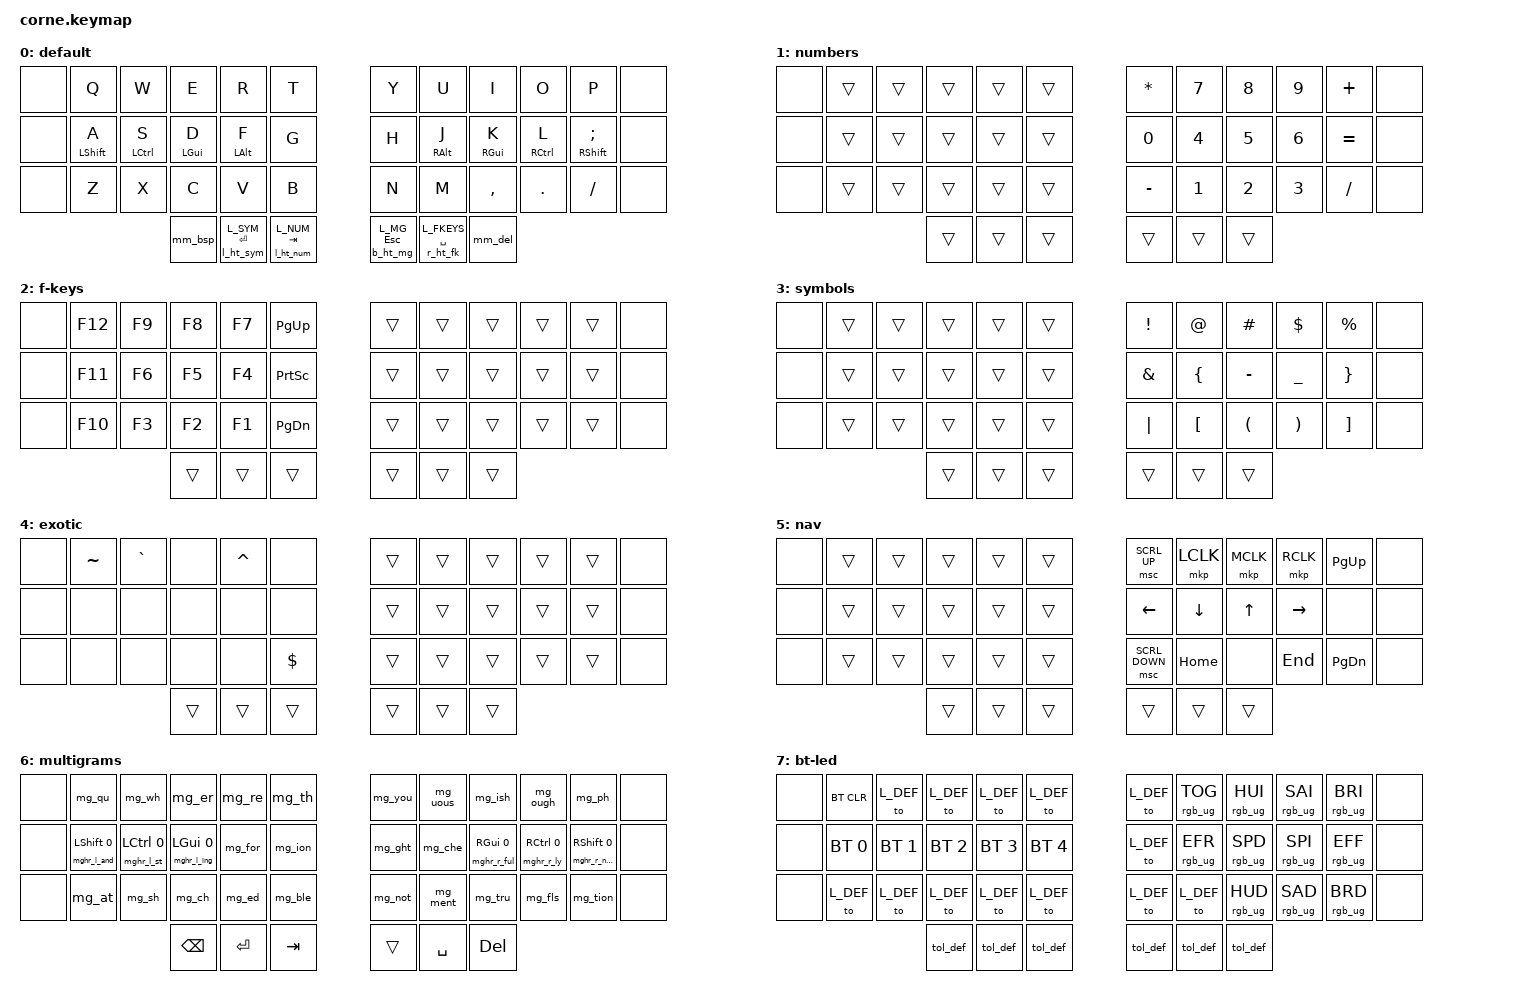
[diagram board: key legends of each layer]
/*
╭──────────────────────────────────────────────────────────╮
│ @Co-Author: TheDirkKnight   @Contact:  github.com/DiSc21 │
│ @License:   MIT           @copyright: 2024 TheDirkKnight │
│ @Data:      2025/02/16                                   │
╰──────────────────────────────────────────────────────────╯
╭──────────────────────────────────────────────────────────╮
│ @brief: ZMK keymap for Corne 5×3+3 — 8 layers           │
│                                                          │
│ @depends:                                                │
│ - shared_defs.dtsi (positions, timing, layers)           │
│ - behaviors_hrm.dtsi (home-row-modifiers)                │
│ - behaviors_led.dtsi (LED layer hold-taps)               │
│ - behaviors_multigrams.dtsi (multigram macros + MG-HRMs) │
│ - combos.dtsi (15 horizontal-adjacent combos)            │
╰──────────────────────────────────────────────────────────╯
*/

/* std includes */
#include <behaviors.dtsi>
#include <dt-bindings/zmk/keys.h>
#include <dt-bindings/zmk/bt.h>
#include <dt-bindings/zmk/rgb.h>
#include <dt-bindings/zmk/pointing.h>

/* project includes */
#include "shared_defs.dtsi"
#include "behaviors_hrm.dtsi"
#include "behaviors_led.dtsi"
#include "behaviors_multigrams.dtsi"
#include "combos.dtsi"

&led_strip {
    chain-length = <24>;
};

/ {

    behaviors {
        /* BSP/DEL mod-morph: Shift+BSP→DEL, Shift+DEL→BSP */
        mm_bsp: mm_bsp {
            compatible = "zmk,behavior-mod-morph";
            #binding-cells = <0>;
            bindings = <&l_ht_nav L_NAV BSPC>, <&kp DEL>;
            mods = <(MOD_LSFT|MOD_RSFT)>;
        };
        mm_del: mm_del {
            compatible = "zmk,behavior-mod-morph";
            #binding-cells = <0>;
            bindings = <&r_ht_exo L_EXOTIC DEL>, <&kp BSPC>;
            mods = <(MOD_LSFT|MOD_RSFT)>;
        };
    };

    keymap {
        compatible = "zmk,keymap";

        /* ═══════════════════════════════════════════════════════
         * Layer 0: Default
         * ╭─────┬─────┬─────┬─────┬─────╮ ╭─────┬─────┬─────┬─────┬─────╮
         * │  Q  │  W  │  E  │  R  │  T  │ │  Y  │  U  │  I  │  O  │  P  │
         * ├─────┼─────┼─────┼─────┼─────┤ ├─────┼─────┼─────┼─────┼─────┤
         * │  A  │  S  │  D  │  F  │  G  │ │  H  │  J  │  K  │  L  │  ;  │
         * │ SFT │ CTL │ GUI │ ALT │     │ │     │ ALT │ GUI │ CTL │ SFT │
         * ├─────┼─────┼─────┼─────┼─────┤ ├─────┼─────┼─────┼─────┼─────┤
         * │  Z  │  X  │  C  │  V  │  B  │ │  N  │  M  │  ,  │  .  │  /  │
         * ╰─────┴─────┼─────┼─────┼─────┤ ├─────┼─────┼─────┼─────┴─────╯
         *             │ BSP │ RET │ TAB │ │ ESC │ SPC │ DEL │
         *             │Nav5 │Sym3 │Num1 │ │ MG6 │ FK2 │Exo4 │
         *             ╰─────┴─────┴─────╯ ╰─────┴─────┴─────╯
         * ═══════════════════════════════════════════════════════ */
        default_layer {
            display-name = "default";
            bindings = <
                &none  &kp Q              &kp W             &kp E            &kp R             &kp T                &kp Y              &kp U             &kp I            &kp O             &kp P                &none
                &none  &ht_l_tr LSHIFT A  &ht_l_tr LCTRL S  &ht_l_tr LGUI D  &ht_l_tr LALT F   &kp G                &kp H              &ht_r_tr RALT J   &ht_r_tr RGUI K  &ht_r_tr RCTRL L  &ht_r_tr RSHIFT SEMI &none
                &none  &kp Z              &kp X             &kp C            &kp V             &kp B                &kp N              &kp M             &kp COMMA        &kp DOT           &kp FSLH             &none
                                                             &mm_bsp          &l_ht_sym L_SYM RET  &l_ht_num L_NUM TAB  &b_ht_mg L_MG ESC  &r_ht_fk L_FKEYS SPACE  &mm_del
            >;
        };

        /* ═══════════════════════════════════════════════════════
         * Layer 1: Numbers (TAB hold → right side)
         * ╭─────┬─────┬─────┬─────┬─────╮ ╭─────┬─────┬─────┬─────┬─────╮
         * │     │     │     │     │     │ │  *  │  7  │  8  │  9  │  +  │
         * ├─────┼─────┼─────┼─────┼─────┤ ├─────┼─────┼─────┼─────┼─────┤
         * │     │     │     │     │     │ │  0  │  4  │  5  │  6  │  =  │
         * │ SFT │ CTL │ GUI │ ALT │     │ │     │     │     │     │     │
         * ├─────┼─────┼─────┼─────┼─────┤ ├─────┼─────┼─────┼─────┼─────┤
         * │     │     │     │     │     │ │  -  │  1  │  2  │  3  │  /  │
         * ╰─────┴─────┼─────┼─────┼─────┤ ├─────┼─────┼─────┼─────┴─────╯
         *             │     │     │*TAB*│ │     │     │     │
         *             ╰─────┴─────┴─────╯ ╰─────┴─────┴─────╯
         * Left: base (HRMs active)  Right: numpad, no HRMs
         * ═══════════════════════════════════════════════════════ */
        numbers_layer {
            display-name = "numbers";
            bindings = <
                &none  &trans  &trans  &trans  &trans  &trans      &kp ASTERISK  &kp N7  &kp N8  &kp N9  &kp PLUS   &none
                &none  &trans  &trans  &trans  &trans  &trans      &kp N0        &kp N4  &kp N5  &kp N6  &kp EQUAL  &none
                &none  &trans  &trans  &trans  &trans  &trans      &kp MINUS     &kp N1  &kp N2  &kp N3  &kp FSLH   &none
                                       &trans  &trans  &trans      &trans        &trans  &trans
            >;
        };

        /* ═══════════════════════════════════════════════════════
         * Layer 2: F-Keys (SPC hold → left side)
         * ╭─────┬─────┬─────┬─────┬─────╮ ╭─────┬─────┬─────┬─────┬─────╮
         * │ F12 │  F9 │  F8 │  F7 │ PgU │ │     │     │     │     │     │
         * ├─────┼─────┼─────┼─────┼─────┤ ├─────┼─────┼─────┼─────┼─────┤
         * │ F11 │  F6 │  F5 │  F4 │ PSc │ │     │     │     │     │     │
         * │     │     │     │     │     │ │     │ ALT │ GUI │ CTL │ SFT │
         * ├─────┼─────┼─────┼─────┼─────┤ ├─────┼─────┼─────┼─────┼─────┤
         * │ F10 │  F3 │  F2 │  F1 │ PgD │ │     │     │     │     │     │
         * ╰─────┴─────┼─────┼─────┼─────┤ ├─────┼─────┼─────┼─────┴─────╯
         *             │     │     │     │ │     │*SPC*│     │
         *             ╰─────┴─────┴─────╯ ╰─────┴─────┴─────╯
         * Left: F-keys (no HRMs)  Right: base (HRMs active)
         * ═══════════════════════════════════════════════════════ */
        fkeys_layer {
            display-name = "f-keys";
            bindings = <
                &none  &kp F12  &kp F9  &kp F8  &kp F7  &kp PG_UP      &trans  &trans  &trans  &trans  &trans  &none
                &none  &kp F11  &kp F6  &kp F5  &kp F4  &kp PSCRN      &trans  &trans  &trans  &trans  &trans  &none
                &none  &kp F10  &kp F3  &kp F2  &kp F1  &kp PG_DN      &trans  &trans  &trans  &trans  &trans  &none
                                         &trans  &trans  &trans          &trans  &trans  &trans
            >;
        };

        /* ═══════════════════════════════════════════════════════
         * Layer 3: Symbols (RET hold → right side)
         * ╭─────┬─────┬─────┬─────┬─────╮ ╭─────┬─────┬─────┬─────┬─────╮
         * │     │     │     │     │     │ │  !  │  @  │  #  │  $  │  %  │
         * ├─────┼─────┼─────┼─────┼─────┤ ├─────┼─────┼─────┼─────┼─────┤
         * │     │     │     │     │     │ │  &  │  {  │  -  │  _  │  }  │
         * │ SFT │ CTL │ GUI │ ALT │     │ │     │     │     │     │     │
         * ├─────┼─────┼─────┼─────┼─────┤ ├─────┼─────┼─────┼─────┼─────┤
         * │     │     │     │     │     │ │  |  │  [  │  (  │  )  │  ]  │
         * ╰─────┴─────┼─────┼─────┼─────┤ ├─────┼─────┼─────┼─────┴─────╯
         *             │     │*RET*│     │ │     │     │     │
         *             ╰─────┴─────┴─────╯ ╰─────┴─────┴─────╯
         * Left: base (HRMs active)  Right: symbols, no HRMs
         * ═══════════════════════════════════════════════════════ */
        symbols_layer {
            display-name = "symbols";
            bindings = <
                &none  &trans  &trans  &trans  &trans  &trans      &kp EXCL   &kp AT    &kp HASH   &kp DOLLAR  &kp PERCENT  &none
                &none  &trans  &trans  &trans  &trans  &trans      &kp AMPS   &kp LBRC  &kp MINUS  &kp UNDER   &kp RBRC     &none
                &none  &trans  &trans  &trans  &trans  &trans      &kp PIPE   &kp LBKT  &kp LPAR   &kp RPAR    &kp RBKT     &none
                                       &trans  &trans  &trans      &trans     &trans    &trans
            >;
        };

        /* ═══════════════════════════════════════════════════════
         * Layer 4: Exotic (DEL hold → left side)
         * ╭─────┬─────┬─────┬─────┬─────╮ ╭─────┬─────┬─────┬─────┬─────╮
         * │  ~  │  `  │ TODO│  ^  │ TODO│ │     │     │     │     │     │
         * ├─────┼─────┼─────┼─────┼─────┤ ├─────┼─────┼─────┼─────┼─────┤
         * │ TODO│ TODO│ TODO│ TODO│ TODO│ │     │     │     │     │     │
         * │     │     │     │     │     │ │     │ ALT │ GUI │ CTL │ SFT │
         * ├─────┼─────┼─────┼─────┼─────┤ ├─────┼─────┼─────┼─────┼─────┤
         * │ TODO│ TODO│ TODO│ TODO│  $  │ │     │     │     │     │     │
         * ╰─────┴─────┼─────┼─────┼─────┤ ├─────┼─────┼─────┼─────┴─────╯
         *             │     │     │     │ │     │     │*DEL*│
         *             ╰─────┴─────┴─────╯ ╰─────┴─────┴─────╯
         * Left: exotic (no HRMs, compose TBD)  Right: base (HRMs active)
         * TODO: ä ß ö ü € § £ ± × ¡ ¿ need compose sequences
         * ═══════════════════════════════════════════════════════ */
        exotic_layer {
            display-name = "exotic";
            bindings = <
                &none  &kp TILDE  &kp GRAVE  &none       &kp CARET  &none          &trans  &trans  &trans  &trans  &trans  &none
                &none  &none      &none      &none       &none      &none          &trans  &trans  &trans  &trans  &trans  &none
                &none  &none      &none      &none       &none      &kp DOLLAR     &trans  &trans  &trans  &trans  &trans  &none
                                              &trans      &trans     &trans         &trans  &trans  &trans
            >;
        };

        /* ═══════════════════════════════════════════════════════
         * Layer 5: Nav (BSP hold → right side)
         * ╭─────┬─────┬─────┬─────┬─────╮ ╭─────┬─────┬─────┬─────┬─────╮
         * │     │     │     │     │     │ │ ScU │ LCl │ MCl │ RCl │ PgU │
         * ├─────┼─────┼─────┼─────┼─────┤ ├─────┼─────┼─────┼─────┼─────┤
         * │     │     │     │     │     │ │  ←  │  ↓  │  ↑  │  →  │     │
         * │ SFT │ CTL │ GUI │ ALT │     │ │     │     │     │     │     │
         * ├─────┼─────┼─────┼─────┼─────┤ ├─────┼─────┼─────┼─────┼─────┤
         * │     │     │     │     │     │ │ ScD │ HOM │     │ END │ PgD │
         * ╰─────┴─────┼─────┼─────┼─────┤ ├─────┼─────┼─────┼─────┴─────╯
         *             │*BSP*│     │     │ │     │     │     │
         *             ╰─────┴─────┴─────╯ ╰─────┴─────┴─────╯
         * Left: base (HRMs active)  Right: nav + mouse, no HRMs
         * ═══════════════════════════════════════════════════════ */
        nav_layer {
            display-name = "nav";
            bindings = <
                &none  &trans  &trans  &trans  &trans  &trans      &msc SCRL_UP    &mkp LCLK   &mkp MCLK  &mkp RCLK  &kp PG_UP  &none
                &none  &trans  &trans  &trans  &trans  &trans      &kp LEFT        &kp DOWN    &kp UP     &kp RIGHT  &none      &none
                &none  &trans  &trans  &trans  &trans  &trans      &msc SCRL_DOWN  &kp HOME    &none      &kp END    &kp PG_DN  &none
                                       &trans  &trans  &trans      &trans          &trans      &trans
            >;
        };

        /* ═══════════════════════════════════════════════════════
         * Layer 6: Multigrams (ESC hold → both sides)
         * ╭─────┬─────┬─────┬─────┬─────╮ ╭─────┬─────┬─────┬─────┬─────╮
         * │ qu  │ wh  │ er  │ re  │ th  │ │ you │uous │ ish │ough │ ph  │
         * ├─────┼─────┼─────┼─────┼─────┤ ├─────┼─────┼─────┼─────┼─────┤
         * │ and │ st  │ ing │ for │ ion │ │ ght │ che │ ful │ ly  │ness │
         * │MGSFT│MGCTL│MGGUI│  —  │  —  │ │  —  │  —  │MGGUI│MGCTL│MGSFT│
         * ├─────┼─────┼─────┼─────┼─────┤ ├─────┼─────┼─────┼─────┼─────┤
         * │ at  │ sh  │ ch  │ ed  │ ble │ │ not │ment │true │false│tion │
         * ╰─────┴─────┼─────┼─────┼─────┤ ├─────┼─────┼─────┼─────┴─────╯
         *             │ BSP │ RET │ TAB │ │*ESC*│ SPC │ DEL │
         *             ╰─────┴─────┴─────╯ ╰─────┴─────┴─────╯
         * Both sides: multigrams with MG-HRMs (consumed modifiers)
         * Thumbs: plain taps (no layer stacking), ESC=trans (layer hold)
         * ═══════════════════════════════════════════════════════ */
        multigrams_layer {
            display-name = "multigrams";
            bindings = <
                &none  &mg_qu                  &mg_wh                 &mg_er                &mg_re   &mg_th       &mg_you  &mg_uous  &mg_ish                &mg_ough                &mg_ph                    &none
                &none  &mghr_l_and LSHIFT 0    &mghr_l_st LCTRL 0     &mghr_l_ing LGUI 0    &mg_for  &mg_ion      &mg_ght  &mg_che   &mghr_r_ful RGUI 0     &mghr_r_ly RCTRL 0      &mghr_r_ness RSHIFT 0     &none
                &none  &mg_at                  &mg_sh                 &mg_ch                &mg_ed   &mg_ble      &mg_not  &mg_ment  &mg_tru                &mg_fls                 &mg_tion                  &none
                                                                       &kp BSPC              &kp RET  &kp TAB      &trans   &kp SPACE &kp DEL
            >;
        };

        /* ═══════════════════════════════════════════════════════
         * Layer 7: BT/LED (one-shot via T+Y combo)
         * ╭─────┬─────┬─────┬─────┬─────╮ ╭─────┬─────┬─────┬─────┬─────╮
         * │BTCLR│     │     │     │     │ │     │ TOG │ HU+ │ SA+ │ BR+ │
         * ├─────┼─────┼─────┼─────┼─────┤ ├─────┼─────┼─────┼─────┼─────┤
         * │ BT1 │ BT2 │ BT3 │ BT4 │ BT5 │ │     │ EF← │ SP- │ SP+ │ EF→ │
         * ├─────┼─────┼─────┼─────┼─────┤ ├─────┼─────┼─────┼─────┼─────┤
         * │     │     │     │     │     │ │     │     │ HU- │ SA- │ BR- │
         * ╰─────┴─────┼─────┼─────┼─────┤ ├─────┼─────┼─────┼─────┴─────╯
         *             │ DEF │ DEF │ DEF │ │ DEF │ DEF │ DEF │
         *             ╰─────┴─────┴─────╯ ╰─────┴─────┴─────╯
         * All unassigned keys → &to L_DEF (safe exit)
         * ═══════════════════════════════════════════════════════ */
        bt_led_layer {
            display-name = "bt-led";
            bindings = <
                &none  &bt BT_CLR    &to L_DEF     &to L_DEF     &to L_DEF     &to L_DEF          &to L_DEF  &rgb_ug RGB_TOG  &rgb_ug RGB_HUI  &rgb_ug RGB_SAI  &rgb_ug RGB_BRI  &none
                &none  &bt BT_SEL 0  &bt BT_SEL 1  &bt BT_SEL 2  &bt BT_SEL 3  &bt BT_SEL 4       &to L_DEF  &rgb_ug RGB_EFR  &rgb_ug RGB_SPD  &rgb_ug RGB_SPI  &rgb_ug RGB_EFF  &none
                &none  &to L_DEF     &to L_DEF     &to L_DEF     &to L_DEF     &to L_DEF          &to L_DEF  &to L_DEF        &rgb_ug RGB_HUD  &rgb_ug RGB_SAD  &rgb_ug RGB_BRD  &none
                                                    &tol_def      &tol_def      &tol_def           &tol_def   &tol_def         &tol_def
            >;
        };

    };
};

